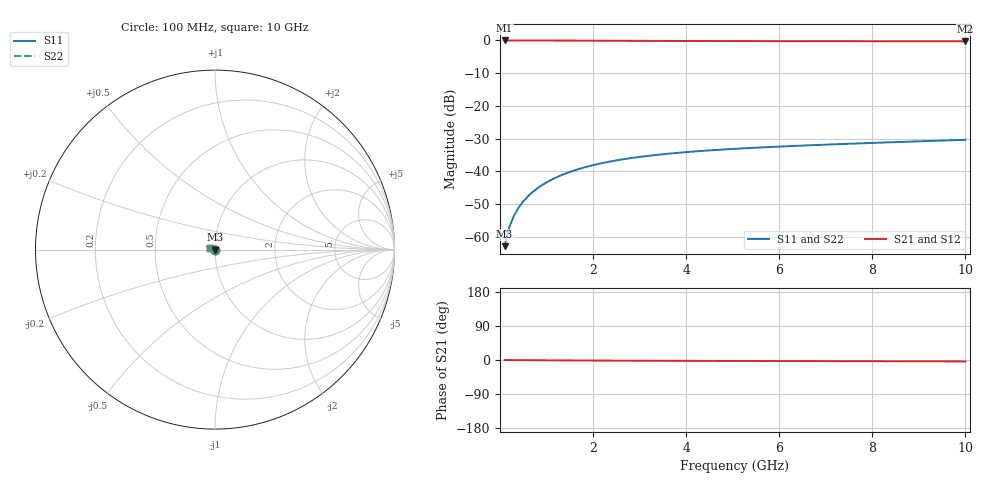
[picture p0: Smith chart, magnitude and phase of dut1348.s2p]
! Touchstone file exported from HFSS 2024.1.0
!  File:  C:/UserFiles/LocalFiles/RDL_TSV_Batchsim/temp_TSV1_1348_1780377053.aedt
!  Generated:  01:16:43 PM Jun  2, 2026
!  Design:  TSV1
!  Project:  temp_TSV1_1348_1780377053
!  Setup:  Setup1
!  Solution:  Sweep
! Variables:
!  dtsv = 8.37um
!  hbump = 3um
!  htsv = 54.86um
!  lrdl = 252.1521522um
!  p = 40
!  p1 = 51.35um
!  t = 500um
!  trdl = 3um
!  wrdl = 24.89489489um
# GHz S MA R 50.000000
! Terminal data exported
! Port[1] = TSV22_T1
! Port[2] = TSV22_T2
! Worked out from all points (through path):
!   100 points, 100 MHz to 10 GHz, reference 50 ohm
!   highest |S21| = 0.00 dB at 100 MHz (marker M1); lowest = -0.3 dB at 10 GHz (marker M2)
!   lowest |S11| = -62.9 dB at 100 MHz (marker M3), VSWR 1.00, Z = 50 - j0.0699 ohm
!   |S11| at or under -10 dB: start of sweep to end of sweep
!   |S22| runs from -62.9 to -30.4 dB; largest |S21 - S12| = 7.1e-15
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0.1  0.000713 -78.5  0.9998 -0.1  0.9998 -0.1  0.000713 -78.5
! Gamma 0 0 0 0
! Port Impedance 50 0 50 0
0.2  0.001395 -87.3  0.9997 -0.2  0.9997 -0.2  0.001395 -87.3
0.3  0.002081 -91.7  0.9996 -0.3  0.9996 -0.3  0.002081 -91.7
0.4  0.002765 -94.9  0.9994 -0.3  0.9994 -0.3  0.002765 -94.9
0.5  0.003445 -97.7  0.9992 -0.4  0.9992 -0.4  0.003445 -97.7
0.6  0.004119 -100.2  0.9989 -0.5  0.9989 -0.5  0.004119 -100.2
0.7  0.004786 -102.5  0.9985 -0.6  0.9985 -0.6  0.004786 -102.5
0.8  0.005444 -104.8  0.9982 -0.7  0.9982 -0.7  0.005444 -104.8
0.9  0.006093 -107.0  0.9978 -0.7  0.9978 -0.7  0.006093 -107.0
1.1  0.007356 -111.1  0.9969 -0.9  0.9969 -0.9  0.007356 -111.1
1.4  0.009155 -117.0  0.9953 -1.1  0.9953 -1.1  0.009155 -117.0
1.6  0.01028 -120.7  0.9942 -1.2  0.9942 -1.2  0.01028 -120.7
1.8  0.01135 -124.3  0.993 -1.3  0.993 -1.3  0.01135 -124.3
2.1  0.01284 -129.4  0.9913 -1.5  0.9913 -1.5  0.01284 -129.4
2.5  0.01462 -135.8  0.9889 -1.7  0.9889 -1.7  0.01462 -135.8
2.9  0.01618 -141.6  0.9867 -1.9  0.9867 -1.9  0.01618 -141.6
3.4  0.01786 -148.3  0.9841 -2.0  0.9841 -2.0  0.01786 -148.3
4.2  0.02008 -157.7  0.9806 -2.3  0.9806 -2.3  0.02008 -157.7
5.1  0.02209 -166.8  0.9775 -2.5  0.9775 -2.5  0.02209 -166.8
6.7  0.02499 -179.9  0.9736 -2.9  0.9736 -2.9  0.02499 -179.9
8.4  0.02769 169.0  0.9709 -3.4  0.9709 -3.4  0.02769 169.0
10  0.03022 160.5  0.9692 -3.8  0.9692 -3.8  0.03022 160.5
